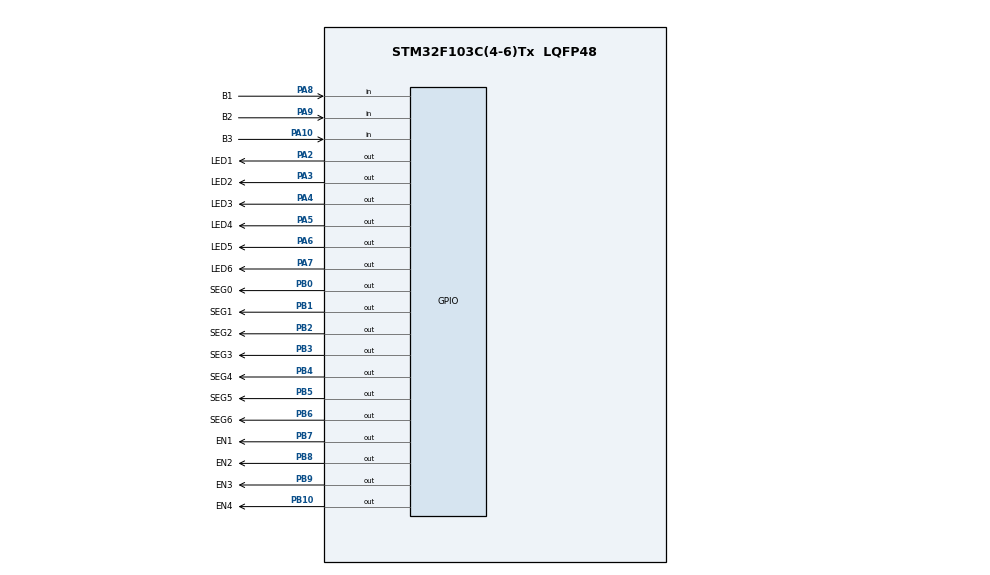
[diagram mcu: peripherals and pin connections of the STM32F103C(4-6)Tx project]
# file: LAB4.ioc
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Mcu.Family=STM32F1
Mcu.Name=STM32F103C(4-6)Tx
Mcu.Package=LQFP48
NVIC.PriorityGroup=NVIC_PRIORITYGROUP_4
NVIC.TIM2_IRQn=true\:0\:0\:false\:false\:true\:true\:true
PA10.GPIO_Label=B3
PA10.GPIO_PuPd=GPIO_PULLUP
PA10.Signal=GPIO_Input
PA2.GPIO_Label=LED1
PA2.Signal=GPIO_Output
PA3.GPIO_Label=LED2
PA3.Signal=GPIO_Output
PA4.GPIO_Label=LED3
PA4.Signal=GPIO_Output
PA5.GPIO_Label=LED4
PA5.Signal=GPIO_Output
PA6.GPIO_Label=LED5
PA6.Signal=GPIO_Output
PA7.GPIO_Label=LED6
PA7.Signal=GPIO_Output
PA8.GPIO_Label=B1
PA8.GPIO_PuPd=GPIO_PULLUP
PA8.Signal=GPIO_Input
PA9.GPIO_Label=B2
PA9.GPIO_PuPd=GPIO_PULLUP
PA9.Signal=GPIO_Input
PB0.GPIO_Label=SEG0
PB0.Signal=GPIO_Output
PB1.GPIO_Label=SEG1
PB1.Signal=GPIO_Output
PB10.GPIO_Label=EN4
PB10.Signal=GPIO_Output
PB2.GPIO_Label=SEG2
PB2.Signal=GPIO_Output
PB3.GPIO_Label=SEG3
PB3.Signal=GPIO_Output
PB4.GPIO_Label=SEG4
PB4.Signal=GPIO_Output
PB5.GPIO_Label=SEG5
PB5.Signal=GPIO_Output
PB6.GPIO_Label=SEG6
PB6.Signal=GPIO_Output
PB7.GPIO_Label=EN1
PB7.Signal=GPIO_Output
PB8.GPIO_Label=EN2
PB8.Signal=GPIO_Output
PB9.GPIO_Label=EN3
PB9.Signal=GPIO_Output
ProjectManager.HeapSize=0x200
ProjectManager.StackSize=0x400
ProjectManager.TargetToolchain=STM32CubeIDE
RCC.APB1Freq_Value=8000000
RCC.APB2Freq_Value=8000000
TIM2.Period=9
TIM2.Prescaler=7999
VP_SYS_VS_ND.Mode=No_Debug
VP_TIM2_VS_ClockSourceINT.Mode=Internal
board=custom

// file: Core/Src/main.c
/* USER CODE BEGIN Header */
/**
  ******************************************************************************
  * @file           : main.c
  * @brief          : Main program body
  ******************************************************************************
  * @attention
  *
  * <h2><center>&copy; Copyright (c) 2024 STMicroelectronics.
  * All rights reserved.</center></h2>
  *
  * This software component is licensed by ST under BSD 3-Clause license,
  * the "License"; You may not use this file except in compliance with the
  * License. You may obtain a copy of the License at:
  *                        opensource.org/licenses/BSD-3-Clause
  *
  ******************************************************************************
  */
/* USER CODE END Header */
#include "main.h"

/* USER CODE BEGIN Includes */
#include "button.h"
#include "traffic_light.h"
#include "fsm_automatic.h"
#include "7SEG_led.h"
#include "fsm_setting.h"
#include "fsm_manual.h"
#include "scheduler.h"
/* USER CODE END Includes */

TIM_HandleTypeDef htim2;

void SystemClock_Config(void);
static void MX_GPIO_Init(void);
static void MX_TIM2_Init(void);

/* USER CODE BEGIN 0 */
void test1(){
	HAL_GPIO_TogglePin(LED1_GPIO_Port, LED1_Pin);
}
void test2(){
	HAL_GPIO_TogglePin(LED2_GPIO_Port, LED2_Pin);
}
void test3(){
	if(isButton1Pressed()) HAL_GPIO_TogglePin(LED3_GPIO_Port, LED3_Pin);
}
/* USER CODE END 0 */

int main(void)
{

  /* MCU Configuration--------------------------------------------------------*/

  /* Reset of all peripherals, Initializes the Flash interface and the Systick. */
  HAL_Init();

  /* Configure the system clock */
  SystemClock_Config();

  /* Initialize all configured peripherals */
  MX_GPIO_Init();
  MX_TIM2_Init();
  /* USER CODE BEGIN 2 */
  HAL_TIM_Base_Start_IT(&htim2);

  /* USER CODE END 2 */

  /* Infinite loop */
  /* USER CODE BEGIN WHILE */
  SCH_Init();

  SCH_Add_Task(update7SEG, 1000, 250);
  SCH_Add_Task(updateBuffer7SEG, 1000, 1000);
  SCH_Add_Task(fsm_automatic_run0, 1000, 0);
  SCH_Add_Task(fsm_automatic_run1, 1000, 0);
  SCH_Add_Task(fsm_setting_run, 1000, 10);
  SCH_Add_Task(getKeyInput, 1000, 10);
  //SCH_Add_Task(test1, 1000, 1000);
  //SCH_Add_Task(test2, 2000, 1000);
  //SCH_Add_Task(test3, 1000, 10);
  while (1)
  {
	  SCH_Dispatch_Tasks();

    /* USER CODE END WHILE */

  }
}

void SystemClock_Config(void)
{
  RCC_OscInitTypeDef RCC_OscInitStruct = {0};
  RCC_ClkInitTypeDef RCC_ClkInitStruct = {0};

  /** Initializes the RCC Oscillators according to the specified parameters
  * in the RCC_OscInitTypeDef structure.
  */
  RCC_OscInitStruct.OscillatorType = RCC_OSCILLATORTYPE_HSI;
  RCC_OscInitStruct.HSIState = RCC_HSI_ON;
  RCC_OscInitStruct.HSICalibrationValue = RCC_HSICALIBRATION_DEFAULT;
  RCC_OscInitStruct.PLL.PLLState = RCC_PLL_NONE;
  if (HAL_RCC_OscConfig(&RCC_OscInitStruct) != HAL_OK)
  {
    Error_Handler();
  }
  /** Initializes the CPU, AHB and APB buses clocks
  */
  RCC_ClkInitStruct.ClockType = RCC_CLOCKTYPE_HCLK|RCC_CLOCKTYPE_SYSCLK
                              |RCC_CLOCKTYPE_PCLK1|RCC_CLOCKTYPE_PCLK2;
  RCC_ClkInitStruct.SYSCLKSource = RCC_SYSCLKSOURCE_HSI;
  RCC_ClkInitStruct.AHBCLKDivider = RCC_SYSCLK_DIV1;
  RCC_ClkInitStruct.APB1CLKDivider = RCC_HCLK_DIV1;
  RCC_ClkInitStruct.APB2CLKDivider = RCC_HCLK_DIV1;

  if (HAL_RCC_ClockConfig(&RCC_ClkInitStruct, FLASH_LATENCY_0) != HAL_OK)
  {
    Error_Handler();
  }
}

static void MX_TIM2_Init(void)
{

  TIM_ClockConfigTypeDef sClockSourceConfig = {0};
  TIM_MasterConfigTypeDef sMasterConfig = {0};

  htim2.Instance = TIM2;
  htim2.Init.Prescaler = 7999;
  htim2.Init.CounterMode = TIM_COUNTERMODE_UP;
  htim2.Init.Period = 9;
  htim2.Init.ClockDivision = TIM_CLOCKDIVISION_DIV1;
  htim2.Init.AutoReloadPreload = TIM_AUTORELOAD_PRELOAD_DISABLE;
  if (HAL_TIM_Base_Init(&htim2) != HAL_OK)
  {
    Error_Handler();
  }
  sClockSourceConfig.ClockSource = TIM_CLOCKSOURCE_INTERNAL;
  if (HAL_TIM_ConfigClockSource(&htim2, &sClockSourceConfig) != HAL_OK)
  {
    Error_Handler();
  }
  sMasterConfig.MasterOutputTrigger = TIM_TRGO_RESET;
  sMasterConfig.MasterSlaveMode = TIM_MASTERSLAVEMODE_DISABLE;
  if (HAL_TIMEx_MasterConfigSynchronization(&htim2, &sMasterConfig) != HAL_OK)
  {
    Error_Handler();
  }

}

static void MX_GPIO_Init(void)
{
  GPIO_InitTypeDef GPIO_InitStruct = {0};

  /* GPIO Ports Clock Enable */
  __HAL_RCC_GPIOA_CLK_ENABLE();
  __HAL_RCC_GPIOB_CLK_ENABLE();

  /*Configure GPIO pin Output Level */
  HAL_GPIO_WritePin(GPIOA, LED1_Pin|LED2_Pin|LED3_Pin|LED4_Pin
                          |LED5_Pin|LED6_Pin, GPIO_PIN_RESET);

  /*Configure GPIO pin Output Level */
  HAL_GPIO_WritePin(GPIOB, SEG0_Pin|SEG1_Pin|SEG2_Pin|EN4_Pin
                          |SEG3_Pin|SEG4_Pin|SEG5_Pin|SEG6_Pin
                          |EN1_Pin|EN2_Pin|EN3_Pin, GPIO_PIN_RESET);

  /*Configure GPIO pins : LED1_Pin LED2_Pin LED3_Pin LED4_Pin
                           LED5_Pin LED6_Pin */
  GPIO_InitStruct.Pin = LED1_Pin|LED2_Pin|LED3_Pin|LED4_Pin
                          |LED5_Pin|LED6_Pin;
  GPIO_InitStruct.Mode = GPIO_MODE_OUTPUT_PP;
  GPIO_InitStruct.Pull = GPIO_NOPULL;
  GPIO_InitStruct.Speed = GPIO_SPEED_FREQ_LOW;
  HAL_GPIO_Init(GPIOA, &GPIO_InitStruct);

  /*Configure GPIO pins : SEG0_Pin SEG1_Pin SEG2_Pin EN4_Pin
                           SEG3_Pin SEG4_Pin SEG5_Pin SEG6_Pin
                           EN1_Pin EN2_Pin EN3_Pin */
  GPIO_InitStruct.Pin = SEG0_Pin|SEG1_Pin|SEG2_Pin|EN4_Pin
                          |SEG3_Pin|SEG4_Pin|SEG5_Pin|SEG6_Pin
                          |EN1_Pin|EN2_Pin|EN3_Pin;
  GPIO_InitStruct.Mode = GPIO_MODE_OUTPUT_PP;
  GPIO_InitStruct.Pull = GPIO_NOPULL;
  GPIO_InitStruct.Speed = GPIO_SPEED_FREQ_LOW;
  HAL_GPIO_Init(GPIOB, &GPIO_InitStruct);

  /*Configure GPIO pins : B1_Pin B2_Pin B3_Pin */
  GPIO_InitStruct.Pin = B1_Pin|B2_Pin|B3_Pin;
  GPIO_InitStruct.Mode = GPIO_MODE_INPUT;
  GPIO_InitStruct.Pull = GPIO_PULLUP;
  HAL_GPIO_Init(GPIOA, &GPIO_InitStruct);

}

/* USER CODE BEGIN 4 */
void HAL_TIM_PeriodElapsedCallback(TIM_HandleTypeDef *htim){
	SCH_Update();
}
/* USER CODE END 4 */

void Error_Handler(void)
{
  __disable_irq();
  while (1)
  {
  }
}

/************************ (C) COPYRIGHT STMicroelectronics *****END OF FILE****/
